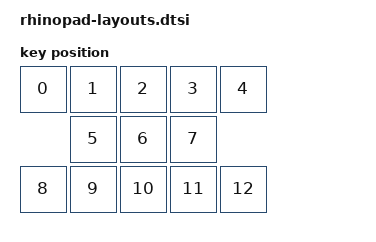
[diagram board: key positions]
#include <physical_layouts.dtsi>

/ {
    physical_layout0: physical_layout_0 {
        compatible = "zmk,physical-layout";
        display-name = "Default";
        transform = <&default_transform>;

        keys  //                     w   h    x    y     rot   rx    ry
            = <&key_physical_attrs 100 100    0   0      0     0     0>
            , <&key_physical_attrs 100 100  100   0      0     0     0>
            , <&key_physical_attrs 100 100  200   0      0     0     0>
            , <&key_physical_attrs 100 100  300   0      0     0     0>
            , <&key_physical_attrs 100 100  400   0      0     0     0>
            , <&key_physical_attrs 100 100  100   100    0     0     0>
            , <&key_physical_attrs 100 100  200   100    0     0     0>
            , <&key_physical_attrs 100 100  300   100    0     0     0>
            , <&key_physical_attrs 100 100  0     200    0     0     0>
            , <&key_physical_attrs 100 100  100   200    0     0     0>
            , <&key_physical_attrs 100 100  200   200    0     0     0>
            , <&key_physical_attrs 100 100  300   200    0     0     0>
            , <&key_physical_attrs 100 100  400   200    0     0     0>
            ;       
    };

        position_map {
        compatible = "zmk,physical-layout-position-map";
        complete; // Optional, see 'Example non-complete position map'
        layout1: layout1 {
            physical-layout = <&physical_layout0>;
            positions = <0  1  2   3   4 >
                       ,<   5  6   7    >
                       ,<8  9  10  11  12>; 
     };
    };
};
